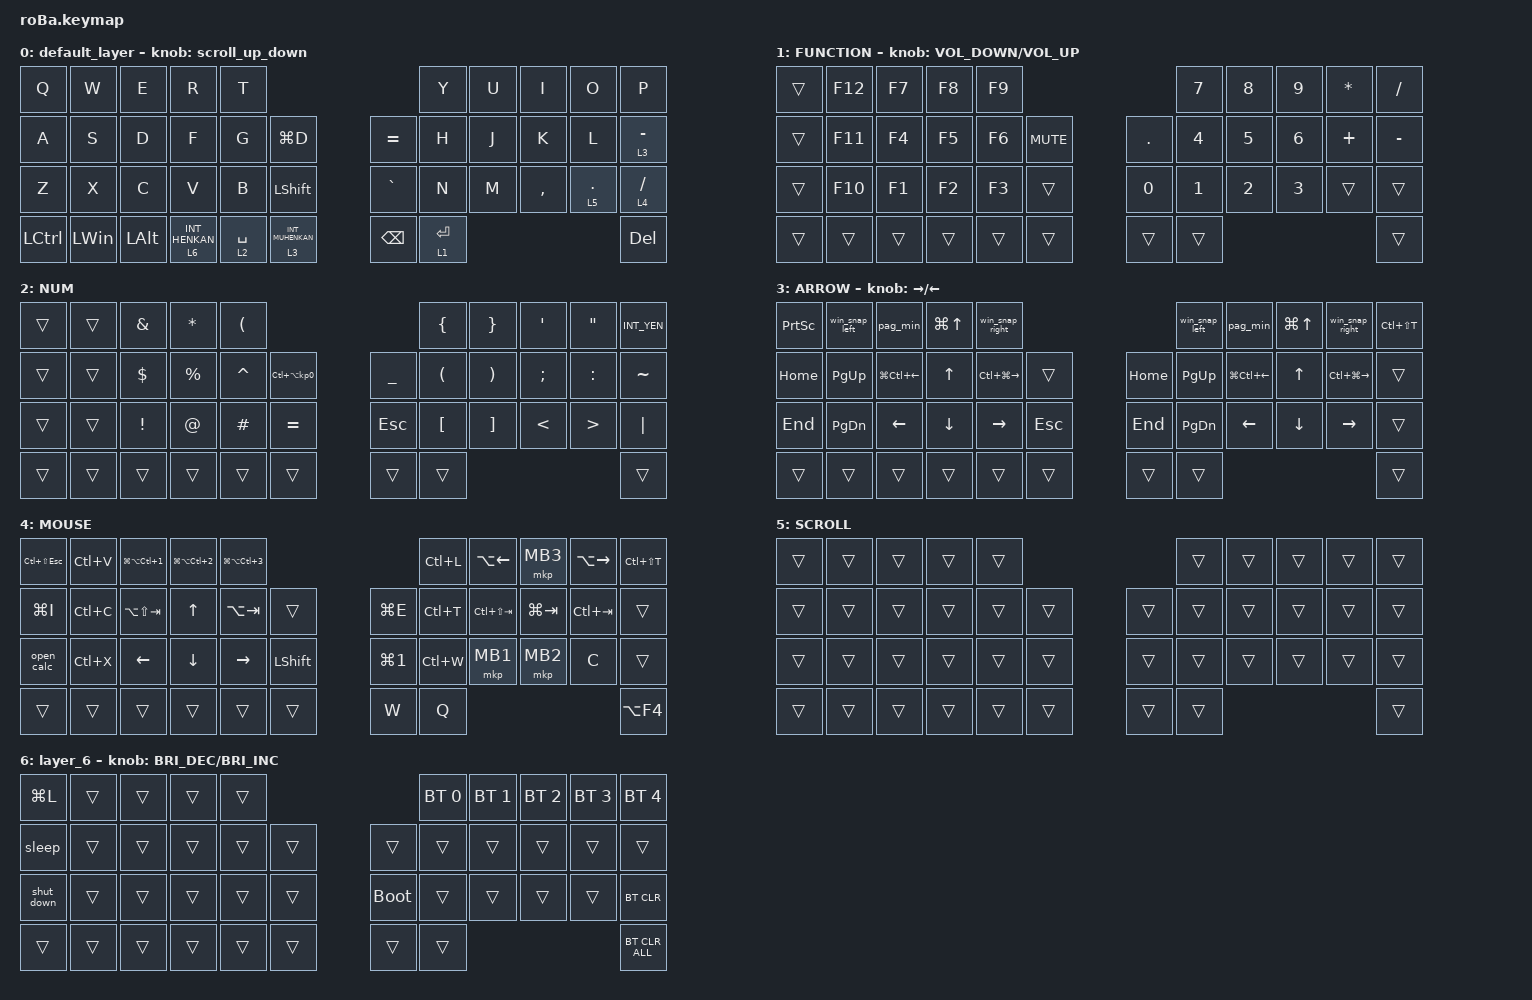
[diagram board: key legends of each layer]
#include <behaviors.dtsi>
#include <dt-bindings/zmk/bt.h>
#include <dt-bindings/zmk/keys.h>
#include <dt-bindings/zmk/pointing.h>

// #includeのあとのあたりにスクロール量を変更

#define ZMK_POINTING_DEFAULT_SCRL_VAL 80

&mt {
    flavor = "balanced";
    quick-tap-ms = <0>;
};

&trackball {
    //automouse-layer = <4>;

    scroll-layers = <5>;

    arrows {
        layers = <3>;
        bindings =
            <&kp RIGHT_ARROW>,
            <&kp LEFT_ARROW>,
            <&kp UP_ARROW>,
            <&kp DOWN_ARROW>;

        tick = <10>;
        wait-ms = <5>;
        tap-ms = <5>;
    };
};

&sensors { triggers-per-rotation = <6>; };

/ {
    combos {
        compatible = "zmk,combos";

        tab {
            bindings = <&kp LS(TAB)>;
            key-positions = <11 12>;
        };

        shift_tab {
            bindings = <&kp TAB>;
            key-positions = <12 13>;
        };

        t {
            bindings = <&kp T>;
            key-positions = <30 31>;
            layers = <4>;
        };

        v {
            bindings = <&kp V>;
            key-positions = <18 19>;
            layers = <4>;
        };

        s {
            bindings = <&kp S>;
            key-positions = <6 7>;
            layers = <4>;
        };

        both_bracket {
            bindings = <&Both_Bracket>;
            key-positions = <29 30>;
            layers = <2>;
        };

        both_parenthesis {
            bindings = <&Both_Parenthesis>;
            key-positions = <17 18>;
            layers = <2>;
        };

        both_brace {
            bindings = <&Both_Brace>;
            key-positions = <5 6>;
            layers = <2>;
        };
    };

    macros {
        to_layer_0: to_layer_0 {
            compatible = "zmk,behavior-macro-one-param";
            #binding-cells = <1>;
            bindings = <&to 0 &macro_param_1to1 &kp MACRO_PLACEHOLDER>;
            label = "TO_LAYER_0";
        };

        shut_down: shut_down {
            compatible = "zmk,behavior-macro";
            #binding-cells = <0>;
            bindings =
                <&macro_press>,
                <&kp LGUI>,
                <&macro_tap>,
                <&kp X>,
                <&macro_release>,
                <&kp LGUI>,
                <&macro_wait_time 100>,
                <&macro_tap>,
                <&kp U>,
                <&macro_wait_time 100>,
                <&macro_tap>,
                <&kp U>;

            label = "SHUT_DOWN";
        };

        pag_min: pag_min {
            compatible = "zmk,behavior-macro";
            #binding-cells = <0>;
            bindings =
                <&macro_press>,
                <&kp LEFT_ALT &kp SPACE &kp N>,
                <&macro_release>,
                <&kp LEFT_ALT &kp SPACE &kp N>;

            label = "PAG_MIN";
        };

        win_snap_right: win_snap_right {
            compatible = "zmk,behavior-macro";
            label = "WIN_SNAP_RIGHT";
            #binding-cells = <0>;
            wait-ms = <10>;
            tap-ms = <10>;
            bindings =
                <&macro_press>,
                <&kp LGUI>,
                <&macro_tap>,
                <&kp RIGHT>,
                <&macro_release>,
                <&kp LGUI>;
        };

        win_snap_left: win_snap_left {
            compatible = "zmk,behavior-macro";
            label = "WIN_SNAP_LEFT";
            #binding-cells = <0>;
            wait-ms = <10>;
            tap-ms = <10>;
            bindings =
                <&macro_press>,
                <&kp LGUI>,
                <&macro_tap>,
                <&kp LEFT>,
                <&macro_release>,
                <&kp LGUI>;
        };

        open_calc: open_calc {
            compatible = "zmk,behavior-macro";
            label = "OPEN_CALC";
            #binding-cells = <0>;
            wait-ms = <40>;
            tap-ms = <40>;
            bindings =
                <&macro_press>,
                <&kp LGUI>,
                <&macro_tap>,
                <&kp R>,
                <&macro_release>,
                <&kp LGUI>,
                <&macro_wait_time 150>,
                <&macro_tap>,
                <&kp C &kp A &kp L &kp C>,
                <&macro_tap>,
                <&kp RET>;
        };

        sleep: new_macro {
            compatible = "zmk,behavior-macro";
            #binding-cells = <0>;
            bindings =
                <&macro_press>,
                <&kp LGUI>,
                <&macro_tap>,
                <&kp X>,
                <&macro_release>,
                <&kp LGUI>,
                <&macro_wait_time 100>,
                <&macro_tap>,
                <&kp U>,
                <&macro_wait_time 100>,
                <&macro_tap>,
                <&kp S>;

            label = "NEW_MACRO";
        };

        Both_Parenthesis: Both_Parenthesis {
            compatible = "zmk,behavior-macro";
            #binding-cells = <0>;
            bindings = <&kp LPAR &kp RPAR &kp LEFT_ARROW>;
            label = "BOTH_PARENTHESIS";
        };

        Both_Brace: Both_Brace {
            compatible = "zmk,behavior-macro";
            #binding-cells = <0>;
            bindings = <&kp LEFT_BRACE &kp RIGHT_BRACE &kp LEFT_ARROW>;
            label = "BOTH_BRACE";
        };

        Both_Bracket: Both_Bracket {
            compatible = "zmk,behavior-macro";
            #binding-cells = <0>;
            bindings = <&kp LEFT_BRACKET &kp RIGHT_BRACKET &kp LEFT_ARROW>;
            label = "BOTH_BRACKET";
        };
    };

    behaviors {
        lt_to_layer_0: lt_to_layer_0 {
            compatible = "zmk,behavior-hold-tap";
            label = "LAYER_TAP_TO_0";
            bindings = <&mo>, <&to_layer_0>;

            #binding-cells = <2>;
            tapping-term-ms = <200>;
        };

        //  behaviors に追加
        // 新しいスクロール動作の追加

        scroll_up_down: behavior_sensor_rotate_mouse_wheel_up_down {
            compatible = "zmk,behavior-sensor-rotate";
            #sensor-binding-cells = <0>;
            bindings = <&msc SCRL_DOWN>, <&msc SCRL_UP>;

            // 追加: スクロールのタップ時間を設定 (20ms)

            tap-ms = <20>;
        };
    };

    keymap {
        compatible = "zmk,keymap";

        default_layer {
            bindings = <
&kp Q      &kp W         &kp E         &kp R                        &kp T                                                          &kp Y        &kp U  &kp I      &kp O         &kp P
&kp A      &kp S         &kp D         &kp F                        &kp G        &kp LG(D)                          &kp EQUAL      &kp H        &kp J  &kp K      &kp L         &lt 3 MINUS
&kp Z      &kp X         &kp C         &kp V                        &kp B        &kp LEFT_SHIFT                     &kp GRAVE      &kp N        &kp M  &kp COMMA  &lt 5 PERIOD  &lt 4 SLASH
&kp LCTRL  &kp LEFT_WIN  &kp LEFT_ALT  &lt_to_layer_0 6 INT_HENKAN  &lt 2 SPACE  &lt_to_layer_0 3 INT_MUHENKAN      &kp BACKSPACE  &lt 1 ENTER                                  &kp DEL
            >;

            sensor-bindings = <&scroll_up_down>;
        };

        FUNCTION {
            bindings = <
&trans  &kp F12  &kp F7  &kp F8  &kp F9                              &kp N7  &kp N8  &kp N9  &kp ASTERISK  &kp SLASH
&trans  &kp F11  &kp F4  &kp F5  &kp F6  &kp C_MUTE      &kp PERIOD  &kp N4  &kp N5  &kp N6  &kp PLUS      &kp MINUS
&trans  &kp F10  &kp F1  &kp F2  &kp F3  &trans          &kp N0      &kp N1  &kp N2  &kp N3  &trans        &trans
&trans  &trans   &trans  &trans  &trans  &trans          &trans      &trans                                &trans
            >;

            sensor-bindings = <&inc_dec_kp C_VOLUME_DOWN C_VOLUME_UP>;
        };

        NUM {
            bindings = <
&trans  &trans  &kp AMPERSAND    &kp ASTERISK  &kp LEFT_PARENTHESIS                                               &kp LEFT_BRACE        &kp RIGHT_BRACE        &kp SQT        &kp DOUBLE_QUOTES  &kp INT_YEN
&trans  &trans  &kp DOLLAR       &kp PERCENT   &kp CARET             &kp LC(LA(KP_NUMBER_0))      &kp UNDERSCORE  &kp LEFT_PARENTHESIS  &kp RIGHT_PARENTHESIS  &kp SEMICOLON  &kp COLON          &kp TILDE
&trans  &trans  &kp EXCLAMATION  &kp AT_SIGN   &kp HASH              &kp EQUAL                    &kp ESCAPE      &kp LEFT_BRACKET      &kp RIGHT_BRACKET      &kp LESS_THAN  &kp GREATER_THAN   &kp PIPE
&trans  &trans  &trans           &trans        &trans                &trans                       &trans          &trans                                                                         &trans
            >;
        };

        ARROW {
            bindings = <
&kp PRINTSCREEN  &win_snap_left  &pag_min                &kp LG(UP_ARROW)  &win_snap_right                                 &win_snap_left  &pag_min                &kp LG(UP_ARROW)  &win_snap_right          &kp LC(LS(T))
&kp HOME         &kp PG_UP       &kp LG(LC(LEFT_ARROW))  &kp UP_ARROW      &kp LC(LG(RIGHT_ARROW))  &trans       &kp HOME  &kp PG_UP       &kp LG(LC(LEFT_ARROW))  &kp UP_ARROW      &kp LC(LG(RIGHT_ARROW))  &trans
&kp END          &kp PAGE_DOWN   &kp LEFT_ARROW          &kp DOWN_ARROW    &kp RIGHT_ARROW          &kp ESC      &kp END   &kp PG_DN       &kp LEFT_ARROW          &kp DOWN_ARROW    &kp RIGHT_ARROW          &trans
&trans           &trans          &trans                  &trans            &trans                   &trans       &trans    &trans                                                                             &trans
            >;

            sensor-bindings = <&inc_dec_kp RIGHT_ARROW LEFT_ARROW>;
        };

        MOUSE {
            bindings = <
&kp LC(LS(ESCAPE))  &kp LC(V)  &kp LG(LA(LC(N1)))  &kp LG(LA(LC(N2)))  &kp LG(LA(LC(N3)))                                        &kp LC(L)  &kp LA(LEFT_ARROW)  &mkp MB3     &kp LA(RIGHT_ARROW)  &kp LC(LS(T))
&kp LG(I)           &kp LC(C)  &kp LA(LS(TAB))     &kp UP_ARROW        &kp LA(TAB)         &trans              &kp LG(E)         &kp LC(T)  &kp LC(LS(TAB))     &kp LG(TAB)  &kp LC(TAB)          &trans
&open_calc          &kp LC(X)  &kp LEFT_ARROW      &kp DOWN_ARROW      &kp RIGHT_ARROW     &kp LEFT_SHIFT      &kp LG(NUMBER_1)  &kp LC(W)  &mkp MB1            &mkp MB2     &kp C                &trans
&trans              &trans     &trans              &trans              &trans              &trans              &kp W             &kp Q                                                            &kp LA(F4)
            >;
        };

        SCROLL {
            bindings = <
&trans  &trans  &trans  &trans  &trans                      &trans  &trans  &trans  &trans  &trans
&trans  &trans  &trans  &trans  &trans  &trans      &trans  &trans  &trans  &trans  &trans  &trans
&trans  &trans  &trans  &trans  &trans  &trans      &trans  &trans  &trans  &trans  &trans  &trans
&trans  &trans  &trans  &trans  &trans  &trans      &trans  &trans                          &trans
            >;
        };

        layer_6 {
            bindings = <
&kp LG(L)   &trans  &trans  &trans  &trans                           &bt BT_SEL 0  &bt BT_SEL 1  &bt BT_SEL 2  &bt BT_SEL 3  &bt BT_SEL 4
&sleep      &trans  &trans  &trans  &trans  &trans      &trans       &trans        &trans        &trans        &trans        &trans
&shut_down  &trans  &trans  &trans  &trans  &trans      &bootloader  &trans        &trans        &trans        &trans        &bt BT_CLR
&trans      &trans  &trans  &trans  &trans  &trans      &trans       &trans                                                  &bt BT_CLR_ALL
            >;

            sensor-bindings = <&inc_dec_kp C_BRI_DEC C_BRI_INC>;
        };
    };
};
